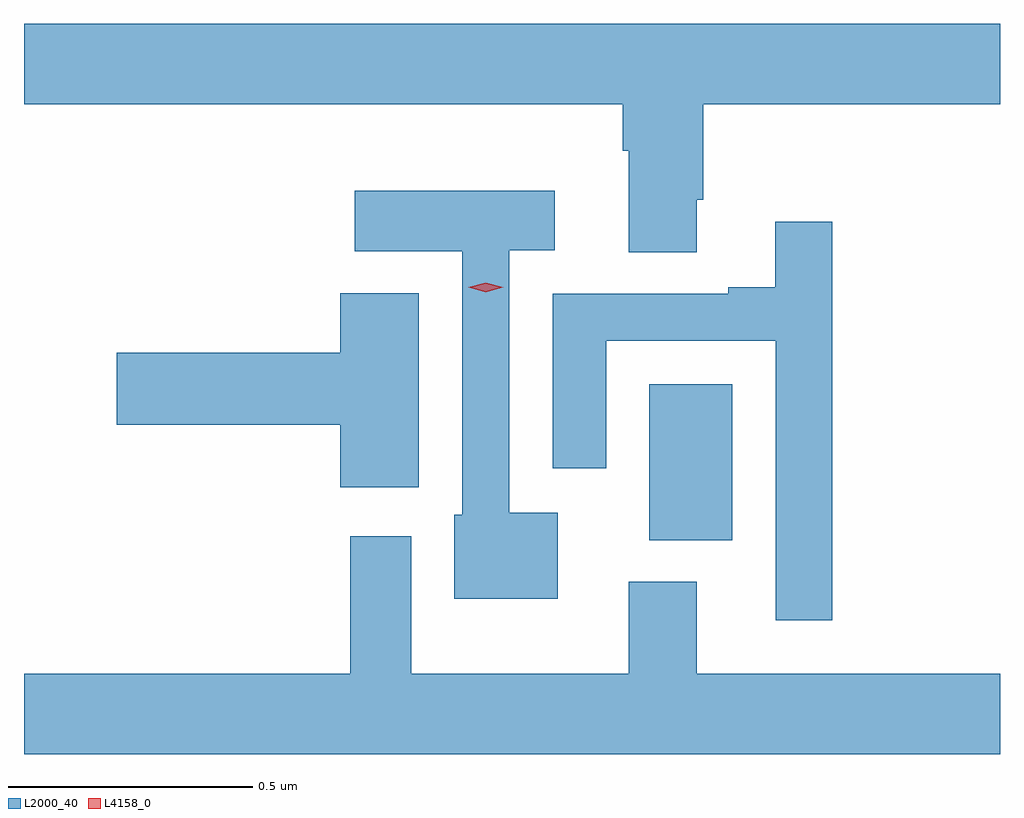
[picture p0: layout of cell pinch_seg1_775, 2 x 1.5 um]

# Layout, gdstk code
import gdstk
lib = gdstk.Library(unit=1e-6, precision=1e-09)
def R(c, l, rs):  # rectangles x0, y0, x1, y1
    for r in rs: c.add(gdstk.rectangle(r[:2], r[2:], *l))
def P(c, l, *ps):  # polygons
    for p in ps: c.add(gdstk.Polygon(p, *l))
L2000_40 = (2000, 40)
L4158_0 = (4158, 0)

pinch_seg1_775 = lib.new_cell('pinch_seg1_775')
R(pinch_seg1_775, L2000_40, [(851.297,513.542,851.467,513.862)])
P(pinch_seg1_775, L2000_40, [(851.395,514.24),(851.408,514.24),(851.408,514.436),(852.016,514.436),(852.016,514.6),(850.016,514.6),(850.016,514.436),(851.243,514.436),(851.243,514.34),(851.255,514.34),(851.255,514.132),(851.395,514.132)],
  [(851.11,513.598),(851.01,513.598),(851.01,514.136),(851.104,514.136),(851.104,514.258),(850.694,514.258),(850.694,514.134),(850.914,514.134),(850.914,513.594),(850.898,513.594),(850.898,513.422),(851.11,513.422)],
  [(851.672,514.195),(851.555,514.195),(851.555,514.06),(851.459,514.06),(851.459,514.047),(851.099,514.047),(851.099,513.69),(851.209,513.69),(851.209,513.951),(851.556,513.951),(851.556,513.378),(851.672,513.378)],
  [(850.825,514.048),(850.664,514.048),(850.664,513.926),(850.206,513.926),(850.206,513.779),(850.664,513.779),(850.664,513.651),(850.825,513.651)],
  [(852.016,513.268),(851.395,513.268),(851.395,513.457),(851.255,513.457),(851.255,513.268),(850.81,513.268),(850.81,513.55),(850.685,513.55),(850.685,513.268),(850.016,513.268),(850.016,513.104),(852.016,513.104)])
P(pinch_seg1_775, L4158_0, [(850.962,514.05),(850.926,514.06),(850.926,514.06),(850.926,514.06),(850.962,514.07),(850.998,514.06),(850.998,514.06),(850.998,514.06)])

lib.write_gds('pinch_seg1_775.gds')
